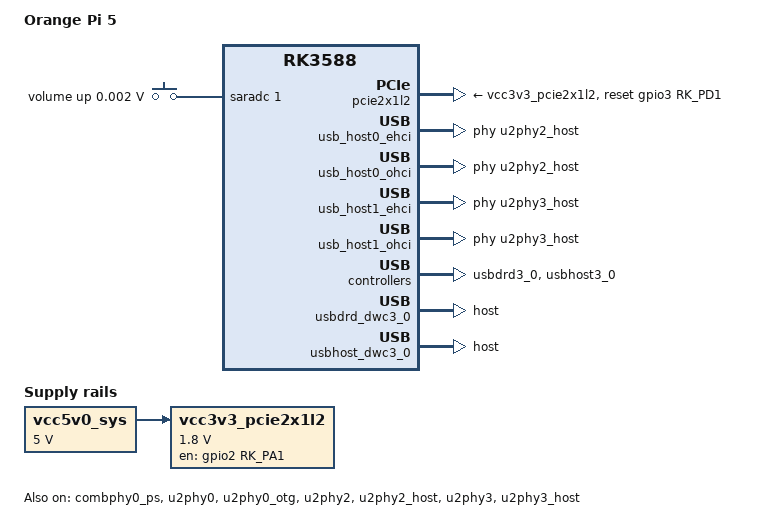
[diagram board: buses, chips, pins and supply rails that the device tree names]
// SPDX-License-Identifier: (GPL-2.0+ OR MIT)
/*
 * Copyright (c) 2021 Rockchip Electronics Co., Ltd
 *
 */

/dts-v1/;
#include "rk3588.dtsi"
#include "rk3588-u-boot.dtsi"
#include <dt-bindings/input/input.h>

/ {
	model = "Orange Pi 5";
	compatible = "rockchip,rk3588s-orangepi-5", "rockchip,rk3588";

	adc-keys {
		compatible = "adc-keys";
		io-channels = <&saradc 1>;
		io-channel-names = "buttons";
		keyup-threshold-microvolt = <1800000>;
		u-boot,dm-pre-reloc;
		status = "okay";

		volumeup-key {
			u-boot,dm-pre-reloc;
			linux,code = <KEY_VOLUMEUP>;
			label = "volume up";
			press-threshold-microvolt = <1750>;
		};
	};

	vcc5v0_sys: vcc5v0-sys {
		u-boot,dm-pre-reloc;
		compatible = "regulator-fixed";
		regulator-name = "vcc5v0_sys";
		regulator-always-on;
		regulator-boot-on;
		regulator-min-microvolt = <5000000>;
		regulator-max-microvolt = <5000000>;
	};

	vcc3v3_pcie2x1l2: vcc3v3-pcie2x1l2 {
		u-boot,dm-pre-reloc;
		compatible = "regulator-fixed";
		regulator-name = "vcc3v3_pcie2x1l2";
		regulator-min-microvolt = <1800000>;
		regulator-max-microvolt = <1800000>;
		enable-active-high;
		//regulator-boot-on;
		//regulator-always-on;
		gpio = <&gpio2 RK_PA1 GPIO_ACTIVE_HIGH>;
		startup-delay-us = <50000>;
		vin-supply = <&vcc5v0_sys>;
	};
};

#if 0
&sata0 {
	u-boot,dm-pre-reloc;
	pinctrl-names = "default";
	pinctrl-0 = <&sata_reset>;
	status = "okay";
};

# else

&pcie2x1l2 {
	u-boot,dm-pre-reloc;
	reset-gpios = <&gpio3 RK_PD1 GPIO_ACTIVE_HIGH>;
	vpcie3v3-supply = <&vcc3v3_pcie2x1l2>;
	status = "okay";
};
#endif

&combphy0_ps {
	u-boot,dm-pre-reloc;
	status = "okay";
};

&u2phy0 {
	u-boot,dm-pre-reloc;
	status = "okay";
};

&u2phy0_otg {
	u-boot,dm-pre-reloc;
	status = "okay";
};

&u2phy2 {
	u-boot,dm-pre-reloc;
	status = "okay";
};

&u2phy2_host {
	u-boot,dm-pre-reloc;
	status = "okay";
};

&u2phy3 {
	u-boot,dm-pre-reloc;
	status = "okay";
};

&u2phy3_host {
	u-boot,dm-pre-reloc;
	status = "okay";
};

&usb_host0_ehci {
	u-boot,dm-pre-reloc;
	compatible = "rockchip,rk3588-ehci", "generic-ehci";
	reg = <0x0 0xfc800000 0x0 0x40000>;
	interrupts = <0 215 4>;
	clocks = <&cru 413>, <&cru 414>, <&u2phy2>;
	clock-names = "usbhost", "arbiter", "utmi";
	companion = <&usb_host0_ohci>;
	phys = <&u2phy2_host>;
	phy-names = "usb2-phy";
	power-domains = <&power 31>;
	status = "okay";
};

&usb_host0_ohci {
	u-boot,dm-pre-reloc;
	compatible = "generic-ohci";
	reg = <0x0 0xfc840000 0x0 0x40000>;
	interrupts = <0 216 4>;
	clocks = <&cru 413>, <&cru 414>, <&u2phy2>;
	clock-names = "usbhost", "arbiter", "utmi";
	phys = <&u2phy2_host>;
	phy-names = "usb2-phy";
	power-domains = <&power 31>;
	status = "okay";
};

&usb_host1_ehci {
	u-boot,dm-pre-reloc;
	compatible = "rockchip,rk3588-ehci", "generic-ehci";
	reg = <0x0 0xfc880000 0x0 0x40000>;
	interrupts = <0 218 4>;
	clocks = <&cru 415>, <&cru 416>, <&u2phy3>;
	clock-names = "usbhost", "arbiter", "utmi";
	companion = <&usb_host1_ohci>;
	phys = <&u2phy3_host>;
	phy-names = "usb2-phy";
	power-domains = <&power 31>;
	status = "okay";
};

&usb_host1_ohci {
	u-boot,dm-pre-reloc;
	compatible = "generic-ohci";
	reg = <0x0 0xfc8c0000 0x0 0x40000>;
	interrupts = <0 219 4>;
	clocks = <&cru 415>, <&cru 416>, <&u2phy3>;
	clock-names = "usbhost", "arbiter", "utmi";
	phys = <&u2phy3_host>;
	phy-names = "usb2-phy";
	power-domains = <&power 31>;
	status = "okay";
};

&usbdrd3_0 {
	u-boot,dm-pre-reloc;
	status = "okay";
};

&usbdrd_dwc3_0 {
	u-boot,dm-pre-reloc;
	dr_mode = "host";
	status = "okay";
};

&usbhost3_0 {
	u-boot,dm-pre-reloc;
	status = "okay";
};

&usbhost_dwc3_0 {
	u-boot,dm-pre-reloc;
	dr_mode = "host";
	status = "okay";
};
